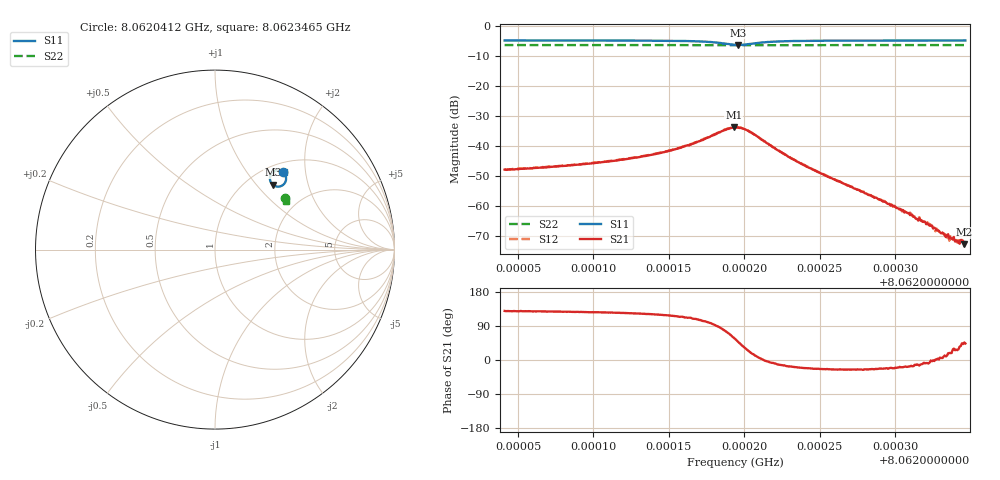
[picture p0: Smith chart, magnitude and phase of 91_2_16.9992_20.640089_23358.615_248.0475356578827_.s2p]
#  HZ  S  RI  R  50.00
! Rohde & Schwarz Vector Network Analyzer
! Rohde-Schwarz,ZNB20-2Port,1311601062101988,3.16
! Created: UTC 3/20/2024, 10:56:08 PM
! freq[Hz]  re:S11  im:S11  re:S21  im:S21  re:S12  im:S12  re:S22  im:S22
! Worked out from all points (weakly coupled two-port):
!   401 points, 8.0620412 GHz to 8.0623465 GHz, reference 50 ohm
!   highest |S21| = -33.81 dB at 8.0621931 GHz (marker M1); lowest = -72.8 dB at 8.0623457 GHz (marker M2)
!   lowest |S11| = -6.3 dB at 8.0621961 GHz (marker M3), VSWR 2.88, Z = 64.8 + j61.2 ohm
!   |S11| at or under -10 dB: nowhere
!   |S22| runs from -6.4 to -6.3 dB; largest |S21 - S12| = 0.0015
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8.06204116e9  0.3796 0.4325  -0.00256 0.0031  -0.00236 0.00325  0.3874 0.2875
8.0620923e9  0.3851 0.4265  -0.00295 0.00396  -0.00275 0.00416  0.3891 0.2848
8.06212055e9  0.3891 0.4209  -0.00332 0.00495  -0.00308 0.00521  0.3902 0.2834
8.06214345e9  0.3931 0.4129  -0.00374 0.00658  -0.0034 0.00688  0.3909 0.2818
8.06216482e9  0.3963 0.3962  -0.00382 0.00996  -0.00309 0.0103  0.3914 0.2801
8.06218161e9  0.3848 0.3657  -9.33e-05 0.016  0.00095 0.0162  0.3909 0.2782
8.06219306e9  0.3375 0.3528  0.0106 0.0174  0.0119 0.0166  0.389 0.2778
8.06219383e9  0.3334 0.3543  0.0114 0.0169  0.0127 0.0162  0.389 0.2781
8.06219612e9  0.3219 0.3615  0.0138 0.0148  0.0148 0.0141  0.3887 0.2784
8.06220299e9  0.306 0.3955  0.0162 0.00694  0.0168 0.00584  0.3888 0.2798
8.06221368e9  0.3222 0.4304  0.0118 -0.000394  0.0117 -0.000928  0.3903 0.2805
8.06223047e9  0.3478 0.4409  0.00608 -0.00188  0.00596 -0.00227  0.392 0.2797
8.06224497e9  0.3593 0.4403  0.00377 -0.00158  0.00371 -0.00179  0.3929 0.2789
8.06229612e9  0.3755 0.4344  0.000999 -0.000396  0.000974 -0.000475  0.3951 0.276
8.06232283e9  0.3794 0.432  0.000463 -5.29e-05  0.00048 -0.000118  0.3963 0.2746
8.06232665e9  0.3799 0.4316  0.00042 9.06e-06  0.000374 -4.21e-05  0.3962 0.2744
8.06233428e9  0.3808 0.4311  0.000314 6.33e-05  0.000293 5.35e-05  0.3965 0.274
8.06234115e9  0.3817 0.4304  0.000231 0.000113  0.00023 8.2e-05  0.3967 0.2737
8.06234344e9  0.3819 0.4301  0.000218 0.000164  0.00024 0.000129  0.3968 0.2736
8.06234421e9  0.3821 0.4302  0.000183 0.000177  0.000223 0.000161  0.3969 0.2735
8.06234573e9  0.3822 0.4301  0.000159 0.000166  0.000151 0.00015  0.3969 0.2736
8.0623465e9  0.3821 0.4299  0.00018 0.000171  0.000181 0.000179  0.3969 0.2734
